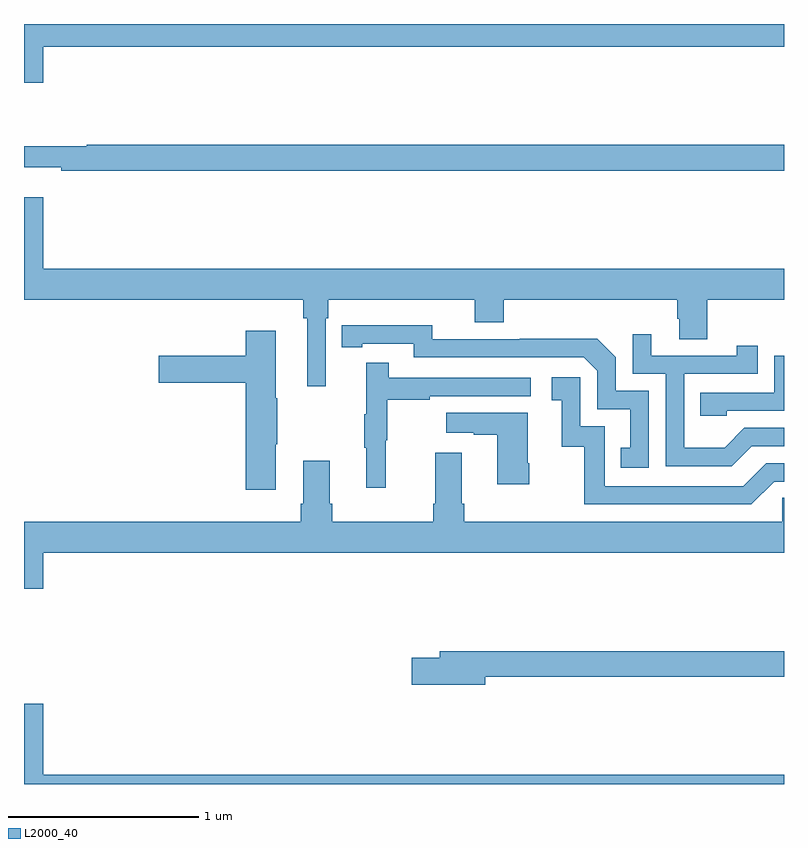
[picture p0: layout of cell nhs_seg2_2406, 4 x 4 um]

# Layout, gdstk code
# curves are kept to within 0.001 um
import gdstk
lib = gdstk.Library(unit=1e-6, precision=1e-09)
def P(c, l, *ps):  # polygons
    for p in ps: c.add(gdstk.Polygon(p, *l))
L2000_40 = (2000, 40)

nhs_seg2_2406 = lib.new_cell('nhs_seg2_2406')
P(nhs_seg2_2406, L2000_40, [(237.1,603.68),(241,603.68),(241,603.8),(237,603.8),(237,603.492),(237.1,603.492)],
  [(241,603.164),(237.329,603.164),(237.329,603.157),(237,603.157),(237,603.047),(237.196,603.047),(237.196,603.028),(241,603.028)],
  [(238.587,602.252),(238.601,602.252),(238.601,602.348),(239.372,602.348),(239.372,602.231),(239.525,602.231),(239.525,602.348),(240.437,602.348),(240.437,602.25),(240.449,602.25),(240.449,602.14),(240.597,602.14),(240.597,602.348),(241,602.348),(241,602.512),(237.1,602.512),(237.1,602.887),(237,602.887),(237,602.348),(238.471,602.348),(238.471,602.252),(238.49,602.252),(238.49,601.893),(238.587,601.893)],
  [(240.288,601.869),(240.114,601.869),(240.114,602.046),(240.016,602.144),(239.608,602.144),(239.608,602.142),(239.148,602.142),(239.148,602.215),(238.672,602.214),(238.672,602.098),(238.78,602.098),(238.78,602.118),(239.052,602.118),(239.052,602.046),(239.946,602.046),(240.018,601.974),(240.018,601.773),(240.191,601.773),(240.191,601.569),(240.142,601.569),(240.142,601.464),(240.288,601.464)],
  [(238.324,601.588),(238.332,601.588),(238.332,601.829),(238.324,601.829),(238.324,602.185),(238.166,602.185),(238.166,602.055),(237.708,602.055),(237.708,601.913),(238.166,601.913),(238.166,601.35),(238.324,601.35)],
  [(240.829,601.578),(241,601.578),(241,601.674),(240.792,601.674),(240.688,601.57),(240.474,601.57),(240.474,601.959),(240.863,601.959),(240.863,602.107),(240.752,602.107),(240.752,602.055),(240.301,602.055),(240.301,602.167),(240.204,602.167),(240.204,601.959),(240.378,601.959),(240.378,601.473),(240.724,601.473)],
  [(240.699,601.764),(241,601.764),(241,602.055),(240.948,602.055),(240.948,601.86),(240.559,601.86),(240.559,601.737),(240.699,601.737)],
  [(238.904,601.608),(238.912,601.608),(238.912,601.822),(239.135,601.822),(239.135,601.842),(239.668,601.842),(239.668,601.938),(238.919,601.938),(238.919,602.017),(238.802,602.017),(238.802,601.745),(238.791,601.745),(238.791,601.571),(238.802,601.571),(238.802,601.359),(238.904,601.359)],
  [(240.948,601.392),(241,601.392),(241,601.488),(240.906,601.488),(240.786,601.368),(240.057,601.368),(240.057,601.683),(239.928,601.683),(239.928,601.942),(239.778,601.942),(239.778,601.821),(239.831,601.821),(239.831,601.575),(239.949,601.575),(239.949,601.272),(240.828,601.272)],
  [(239.658,601.489),(239.65,601.489),(239.65,601.753),(239.223,601.753),(239.223,601.649),(239.366,601.649),(239.366,601.639),(239.492,601.639),(239.492,601.377),(239.658,601.377)],
  [(237.1,601.016),(241,601.016),(241,601.307),(240.99,601.307),(240.99,601.18),(239.318,601.18),(239.318,601.276),(239.305,601.276),(239.305,601.543),(239.165,601.543),(239.165,601.276),(239.153,601.276),(239.153,601.18),(238.622,601.18),(238.622,601.276),(238.609,601.276),(238.609,601.501),(238.469,601.501),(238.469,601.276),(238.457,601.276),(238.457,601.18),(237,601.18),(237,600.828),(237.1,600.828)],
  [(239.428,600.364),(241,600.364),(241,600.5),(239.189,600.5),(239.189,600.464),(239.04,600.464),(239.04,600.322),(239.428,600.322)],
  [(241,599.848),(237.1,599.848),(237.1,600.223),(237,600.223),(237,599.8),(241,599.8)])

lib.write_gds('nhs_seg2_2406.gds')
